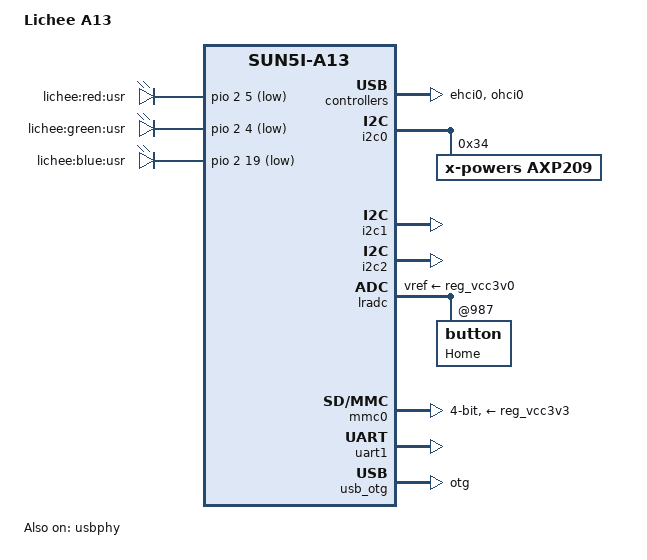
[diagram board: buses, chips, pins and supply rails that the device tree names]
/*
 * Copyright 2012 Maxime Ripard
 *
 * Maxime Ripard <maxime.ripard@free-electrons.com>
 *
 * This file is dual-licensed: you can use it either under the terms
 * of the GPL or the X11 license, at your option. Note that this dual
 * licensing only applies to this file, and not this project as a
 * whole.
 *
 *  a) This file is free software; you can redistribute it and/or
 *     modify it under the terms of the GNU General Public License as
 *     published by the Free Software Foundation; either version 2 of the
 *     License, or (at your option) any later version.
 *
 *     This file is distributed in the hope that it will be useful,
 *     but WITHOUT ANY WARRANTY; without even the implied warranty of
 *     MERCHANTABILITY or FITNESS FOR A PARTICULAR PURPOSE.  See the
 *     GNU General Public License for more details.
 *
 * Or, alternatively,
 *
 *  b) Permission is hereby granted, free of charge, to any person
 *     obtaining a copy of this software and associated documentation
 *     files (the "Software"), to deal in the Software without
 *     restriction, including without limitation the rights to use,
 *     copy, modify, merge, publish, distribute, sublicense, and/or
 *     sell copies of the Software, and to permit persons to whom the
 *     Software is furnished to do so, subject to the following
 *     conditions:
 *
 *     The above copyright notice and this permission notice shall be
 *     included in all copies or substantial portions of the Software.
 *
 *     THE SOFTWARE IS PROVIDED "AS IS", WITHOUT WARRANTY OF ANY KIND,
 *     EXPRESS OR IMPLIED, INCLUDING BUT NOT LIMITED TO THE WARRANTIES
 *     OF MERCHANTABILITY, FITNESS FOR A PARTICULAR PURPOSE AND
 *     NONINFRINGEMENT. IN NO EVENT SHALL THE AUTHORS OR COPYRIGHT
 *     HOLDERS BE LIABLE FOR ANY CLAIM, DAMAGES OR OTHER LIABILITY,
 *     WHETHER IN AN ACTION OF CONTRACT, TORT OR OTHERWISE, ARISING
 *     FROM, OUT OF OR IN CONNECTION WITH THE SOFTWARE OR THE USE OR
 *     OTHER DEALINGS IN THE SOFTWARE.
 */

/dts-v1/;
#include "sun5i-a13.dtsi"
#include "sunxi-common-regulators.dtsi"

#include <dt-bindings/gpio/gpio.h>
#include <dt-bindings/input/input.h>
#include <dt-bindings/pinctrl/sun4i-a10.h>

/ {
	model = "Lichee A13";
	compatible = "lichee,a13-lichee", "allwinner,sun5i-a13";

	aliases {
		serial0 = &uart1;
	};

	chosen {
		stdout-path = "serial0:115200n8";
	};

	leds {
		compatible = "gpio-leds";
		pinctrl-names = "default";
		pinctrl-0 = <&led_pins_lichee>;

		red {
			label ="lichee:red:usr";
			gpios = <&pio 2 5 GPIO_ACTIVE_LOW>;
			default-state = "off";
		};
		green {
			label ="lichee:green:usr";
			gpios = <&pio 2 4 GPIO_ACTIVE_LOW>;
			default-state = "off";
		};
		blue {
			label ="lichee:blue:usr";
			gpios = <&pio 2 19 GPIO_ACTIVE_LOW>;
			default-state = "off";
		};
	};
};

&ehci0 {
	status = "okay";
};

&i2c0 {
	pinctrl-names = "default";
	pinctrl-0 = <&i2c0_pins_a>;
	status = "okay";

	axp209: pmic@34 {
		compatible = "x-powers,axp209";
		reg = <0x34>;
		interrupts = <0>;

		interrupt-controller;
		#interrupt-cells = <1>;
	};
};

&i2c1 {
	pinctrl-names = "default";
	pinctrl-0 = <&i2c1_pins_a>;
	status = "okay";
};

&i2c2 {
	pinctrl-names = "default";
	pinctrl-0 = <&i2c2_pins_a>;
	status = "okay";
};

&lradc {
	vref-supply = <&reg_vcc3v0>;
	status = "okay";

	button@987 {
		label = "Home";
		linux,code = <KEY_HOMEPAGE>;
		channel = <0>;
		voltage = <987387>;
	};
};

&mmc0 {
	pinctrl-names = "default";
	pinctrl-0 = <&mmc0_pins_a>;
	vmmc-supply = <&reg_vcc3v3>;
	bus-width = <4>;
	status = "okay";
};

&ohci0 {
	status = "okay";
};

&otg_sram {
	status = "okay";
};

&pio {
	led_pins_lichee: led_pins@0 {
		allwinner,pins = "PC4","PC5","PC19";
		allwinner,function = "gpio_out";
		allwinner,drive = <SUN4I_PINCTRL_20_MA>;
		allwinner,pull = <SUN4I_PINCTRL_NO_PULL>;
	};

	usb0_id_detect_pin: usb0_id_detect_pin@0 {
		allwinner,pins = "PG2";
		allwinner,function = "gpio_in";
		allwinner,drive = <SUN4I_PINCTRL_10_MA>;
		allwinner,pull = <SUN4I_PINCTRL_PULL_UP>;
	};

	usb0_vbus_detect_pin: usb0_vbus_detect_pin@0 {
		allwinner,pins = "PG1";
		allwinner,function = "gpio_in";
		allwinner,drive = <SUN4I_PINCTRL_10_MA>;
		allwinner,pull = <SUN4I_PINCTRL_PULL_DOWN>;
	};

};

&reg_usb0_vbus {
	status = "okay";
	gpio = <&pio 6 0 GPIO_ACTIVE_HIGH>; /* PG12 */
};

&uart1 {
	pinctrl-names = "default";
	pinctrl-0 = <&uart1_pins_b>;
	status = "okay";
};

&usb_otg {
	dr_mode = "otg";
	status = "okay";
};

&usb0_vbus_pin_a {
	allwinner,pins = "PG0";
};

&usbphy {
	pinctrl-names = "default";
	pinctrl-0 = <&usb0_id_detect_pin>, <&usb0_vbus_detect_pin>;
	usb0_id_det-gpio = <&pio 6 2 GPIO_ACTIVE_HIGH>; /* PG2 */
	usb0_vbus_det-gpio = <&pio 6 1 GPIO_ACTIVE_HIGH>; /* PG1 */
	usb0_vbus-supply = <&reg_usb0_vbus>;
	usb1_vbus-supply = <&reg_usb1_vbus>;
	status = "okay";
};
